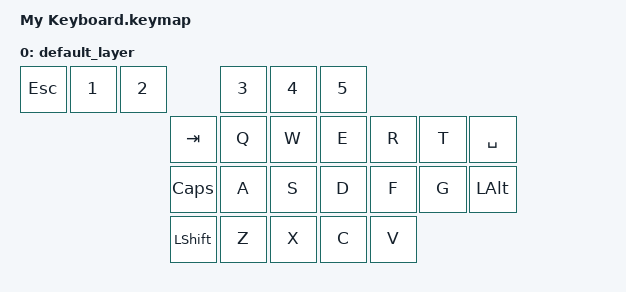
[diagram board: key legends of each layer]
#include <behaviors.dtsi>
#include <dt-bindings/zmk/keys.h>

 / {
    keymap {
        compatible = "zmk,keymap";

        default_layer {
            bindings = <&kp ESC     &kp N1  &kp N2  &kp N3  &kp N4  &kp N5 
                        &kp TAB     &kp Q   &kp W   &kp E   &kp R   &kp T   &kp SPACE
                        &kp CAPS    &kp A   &kp S   &kp D   &kp F   &kp G   &kp LALT 
                        &kp LSHFT   &kp Z   &kp X   &kp C   &kp V
            >;               
        };
    };
};
